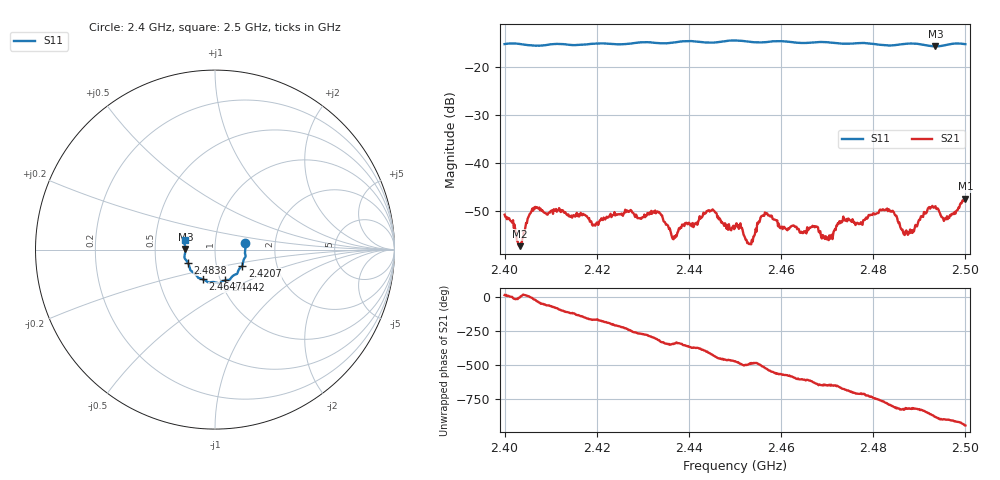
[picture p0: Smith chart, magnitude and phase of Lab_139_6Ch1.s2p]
# Hz S RI R 50
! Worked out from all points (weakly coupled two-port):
!   601 points, 2.4 GHz to 2.5 GHz, reference 50 ohm
!   highest |S21| = -47.45 dB at 2.5 GHz (marker M1); lowest = -57.4 dB at 2.4033 GHz (marker M2)
!   lowest |S11| = -15.7 dB at 2.4935 GHz (marker M3), VSWR 1.39, Z = 35.9 + j0.124 ohm
!   |S11| at or under -10 dB: start of sweep to end of sweep
!   S12 and S22 are empty: the file has one direction only
!   S11 on the Smith chart (normalised r, x): 2.4 GHz: 1.40, +0.11; 2.4207 GHz: 1.33, -0.25; 2.4442 GHz: 1.06, -0.37; 2.4647 GHz: 0.83, -0.28; 2.4838 GHz: 0.73, -0.11; 2.5 GHz: 0.71, +0.08
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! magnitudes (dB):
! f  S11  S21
! 2.4 GHz  -15.2  -50.8
! 2.4017 GHz  -15.1  -52.5
! 2.4033 GHz  -15.2  -57.4
! 2.4065 GHz  -15.5  -49.6
! 2.4167 GHz  -15.3  -50.7
! 2.4207 GHz  -15.1  -52.0
! 2.4333 GHz  -15.0  -50.3
! 2.4368 GHz  -14.9  -55.3
! 2.4442 GHz  -14.9  -49.9
! 2.45 GHz  -14.4  -53.6
! 2.453 GHz  -14.7  -56.9
! 2.4565 GHz  -14.8  -50.3
! 2.4647 GHz  -15.0  -54.7
! 2.4667 GHz  -14.9  -53.4
! 2.4703 GHz  -14.8  -56.1
! 2.4732 GHz  -15.1  -52.4
! 2.4833 GHz  -15.5  -49.7
! 2.4838 GHz  -15.5  -50.1
! 2.4872 GHz  -15.1  -54.1
! 2.4935 GHz  -15.7  -49.0
! 2.4958 GHz  -15.4  -51.8
! 2.5 GHz  -15.2  -47.5
